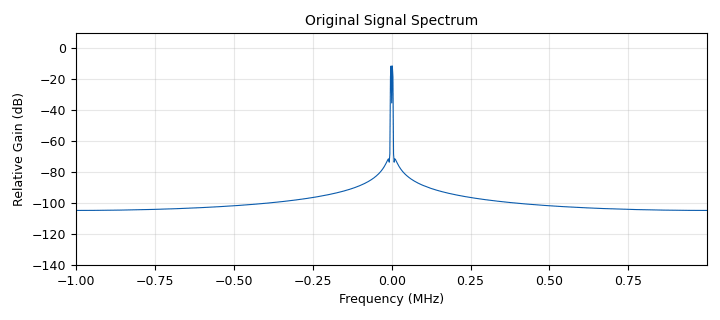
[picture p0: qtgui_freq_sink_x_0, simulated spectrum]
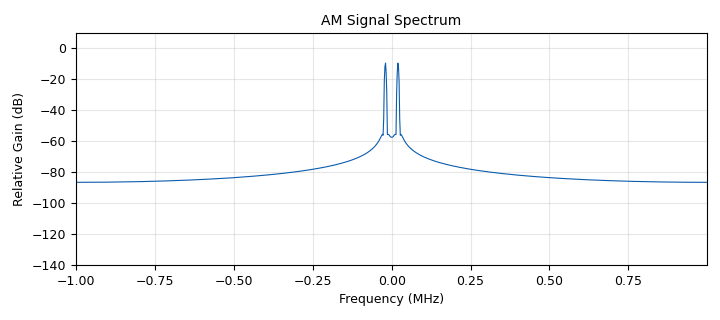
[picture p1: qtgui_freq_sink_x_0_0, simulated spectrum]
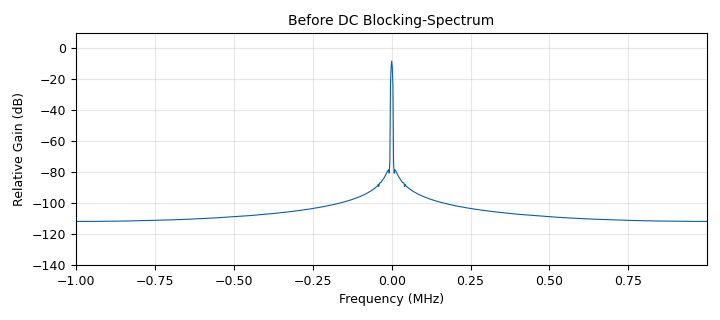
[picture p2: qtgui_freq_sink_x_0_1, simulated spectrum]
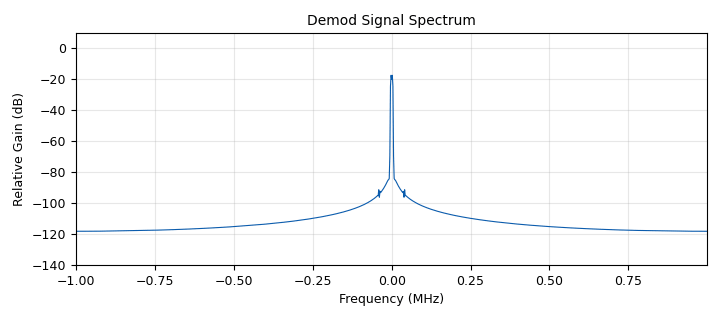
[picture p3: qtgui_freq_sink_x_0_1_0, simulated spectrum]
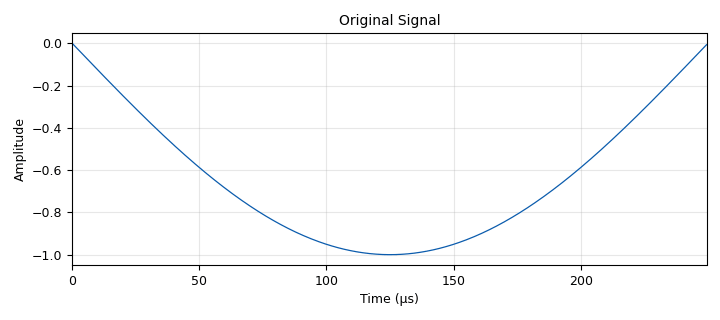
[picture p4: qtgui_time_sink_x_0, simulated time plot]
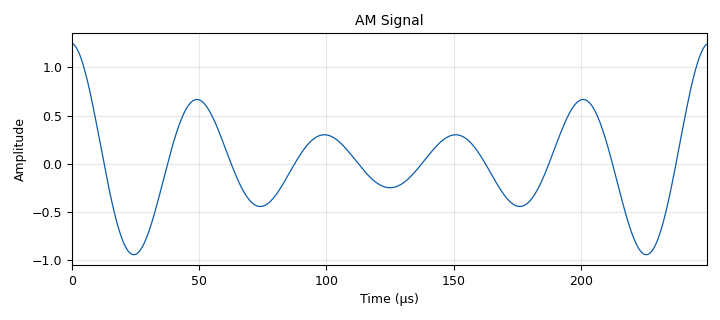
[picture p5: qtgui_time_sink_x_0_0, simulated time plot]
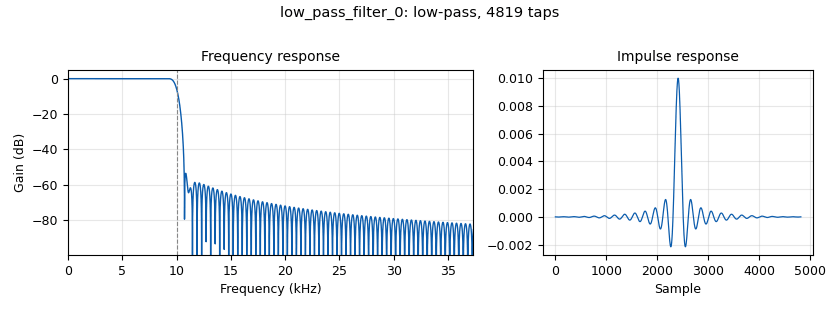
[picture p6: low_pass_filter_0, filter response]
options:
  parameters:
    generate_options: qt_gui
    id: AM_sim_block
    output_language: python
    title: AM Modulation-Demodulation
  states: {}

blocks:
- name: AM_coef
  id: variable_qtgui_range
  parameters:
    gui_hint: 0,0,1,1
    label: 'Ma(amplitude Modulation coefficient):'
    orient: Qt.Horizontal
    start: '0.1'
    step: '0.1'
    stop: '2'
    value: '0.8'
  states: {}
- name: freq
  id: variable
  parameters:
    value: 20e3
  states: {}
- name: freq0
  id: variable
  parameters:
    value: 2e3
  states: {}
- name: noise_amp
  id: variable_qtgui_range
  parameters:
    gui_hint: 0,1,1,1
    label: Noise Amplitude
    orient: Qt.Horizontal
    start: '0'
    step: '0.01'
    stop: '1'
    value: '0'
  states: {}
- name: num
  id: variable
  parameters:
    value: '500'
  states: {}
- name: samp_rate
  id: variable
  parameters:
    value: 2e6
  states: {}
- name: analog_noise_source_x_0
  id: analog_noise_source_x
  parameters:
    amp: noise_amp
    comment: Generate_Noise
    noise_type: analog.GR_GAUSSIAN
    seed: '0'
    type: float
  states: {}
- name: analog_sig_source_x_0
  id: analog_sig_source_x
  parameters:
    amp: '1'
    comment: |-
      Signal_Generator1
      Signal_source
    freq: freq0
    offset: '0'
    phase: '0'
    samp_rate: samp_rate
    type: float
    waveform: analog.GR_SIN_WAVE
  states: {}
- name: analog_sig_source_x_1
  id: analog_sig_source_x
  parameters:
    amp: '1'
    comment: |-
      Signal_Generator3
      CarrierWave
    freq: freq
    offset: '0'
    phase: '0'
    samp_rate: samp_rate
    type: complex
    waveform: analog.GR_COS_WAVE
  states: {}
- name: analog_sig_source_x_1_0
  id: analog_sig_source_x
  parameters:
    amp: '1'
    comment: |-
      Signal_Generator4
      CarrierWave
    freq: '-freq'
    offset: '0'
    phase: '0'
    samp_rate: samp_rate
    type: complex
    waveform: analog.GR_COS_WAVE
  states: {}
- name: analog_sig_source_x_2
  id: analog_sig_source_x
  parameters:
    amp: 1.0/AM_coef
    comment: |-
      Signal_Generator2
      DC_offset
    freq: freq0
    offset: '0'
    phase: '0'
    samp_rate: samp_rate
    type: float
    waveform: analog.GR_CONST_WAVE
  states: {}
- name: blocks_add_xx_0
  id: blocks_add_xx
  parameters:
    type: float
  states: {}
- name: blocks_add_xx_1
  id: blocks_add_xx
  parameters:
    type: float
  states: {}
- name: blocks_complex_to_mag_0
  id: blocks_complex_to_mag
  parameters: {}
  states: {}
- name: blocks_complex_to_real_0
  id: blocks_complex_to_real
  parameters: {}
  states: {}
- name: blocks_float_to_complex_0
  id: blocks_float_to_complex
  parameters: {}
  states: {}
- name: blocks_float_to_complex_0_0
  id: blocks_float_to_complex
  parameters: {}
  states: {}
- name: blocks_float_to_complex_1
  id: blocks_float_to_complex
  parameters: {}
  states: {}
- name: blocks_multiply_xx_0
  id: blocks_multiply_xx
  parameters:
    comment: UpConvert
    type: complex
  states: {}
- name: blocks_multiply_xx_1
  id: blocks_multiply_xx
  parameters:
    comment: DownConvert
    type: complex
  states: {}
- name: blocks_throttle_0
  id: blocks_throttle
  parameters:
    samples_per_second: samp_rate
    type: float
  states: {}
- name: dc_blocker_xx_0
  id: dc_blocker_xx
  parameters:
    length: '3200'
    long_form: 'True'
    type: ff
  states: {}
- name: low_pass_filter_0
  id: low_pass_filter
  parameters:
    cutoff_freq: freq0*5
    decim: '1'
    gain: '1'
    samp_rate: samp_rate
    type: fir_filter_ccf
    width: freq0/2
    win: firdes.WIN_HAMMING
  states: {}
- name: qtgui_freq_sink_x_0
  id: qtgui_freq_sink_x
  parameters:
    bw: samp_rate
    fc: '0'
    fftsize: '1024'
    gui_hint: tab@1:0,0,1,1
    legend: 'False'
    name: Original Signal Spectrum
    showports: 'True'
    type: float
    wintype: firdes.WIN_HAMMING
  states: {}
- name: qtgui_freq_sink_x_0_0
  id: qtgui_freq_sink_x
  parameters:
    bw: samp_rate
    fc: '0'
    fftsize: '1024'
    gui_hint: tab@1:0,1,1,1
    legend: 'False'
    name: AM Signal Spectrum
    showports: 'True'
    type: float
    wintype: firdes.WIN_HAMMING
  states: {}
- name: qtgui_freq_sink_x_0_1
  id: qtgui_freq_sink_x
  parameters:
    bw: samp_rate
    fc: '0'
    fftsize: '1024'
    gui_hint: tab@1:1,0,1,1
    legend: 'False'
    name: Before DC Blocking-Spectrum
    showports: 'True'
    type: float
    wintype: firdes.WIN_HAMMING
  states: {}
- name: qtgui_freq_sink_x_0_1_0
  id: qtgui_freq_sink_x
  parameters:
    bw: samp_rate
    fc: '0'
    fftsize: '1024'
    gui_hint: tab@1:1,1,1,1
    legend: 'False'
    name: Demod Signal Spectrum
    showports: 'True'
    type: float
    wintype: firdes.WIN_HAMMING
  states: {}
- name: qtgui_time_sink_x_0
  id: qtgui_time_sink_x
  parameters:
    autoscale: 'True'
    gui_hint: tab@0:0,0,1,1
    label1: ''
    legend: 'False'
    name: Original Signal
    size: num
    srate: samp_rate
    type: float
  states: {}
- name: qtgui_time_sink_x_0_0
  id: qtgui_time_sink_x
  parameters:
    autoscale: 'True'
    gui_hint: tab@0:0,1,1,1
    label1: ''
    legend: 'False'
    name: AM Signal
    size: num
    srate: samp_rate
    type: float
    ymax: '3'
    ymin: '-3'
  states: {}
- name: qtgui_time_sink_x_0_1
  id: qtgui_time_sink_x
  parameters:
    gui_hint: tab@0:1,0,1,1
    label1: ''
    legend: 'False'
    name: Before DC Blocking
    size: num
    srate: samp_rate
    type: float
    ymax: '6'
  states: {}
- name: qtgui_time_sink_x_0_1_0
  id: qtgui_time_sink_x
  parameters:
    gui_hint: tab@0:1,1,1,1
    label1: ''
    legend: 'False'
    name: Demod Signal
    size: num
    srate: samp_rate
    type: float
  states: {}
- name: tab
  id: qtgui_tab_widget
  parameters:
    gui_hint: 1,0,1,2
    label0: Time Axis Waveform
    label1: Spectrum
    num_tabs: '2'
  states: {}
- name: uhd_usrp_sink_0
  id: uhd_usrp_sink
  parameters:
    ant0: TX/RX
    center_freq0: '0'
    dev_args: '""'
    gain0: '0'
    len_tag_name: ''
    norm_gain0: 'False'
    samp_rate: samp_rate
    sync: none
    type: fc32
  states: {}
- name: virtual_sink_0
  id: virtual_sink
  parameters:
    stream_id: after_channel_data
  states: {}
- name: virtual_source_0
  id: virtual_source
  parameters:
    stream_id: after_channel_data
  states: {}

connections:
- [analog_noise_source_x_0, '0', blocks_add_xx_1, '1']
- [analog_sig_source_x_0, '0', blocks_throttle_0, '0']
- [analog_sig_source_x_0, '0', qtgui_freq_sink_x_0, '0']
- [analog_sig_source_x_0, '0', qtgui_time_sink_x_0, '0']
- [analog_sig_source_x_1, '0', blocks_multiply_xx_0, '0']
- [analog_sig_source_x_1_0, '0', blocks_multiply_xx_1, '1']
- [analog_sig_source_x_2, '0', blocks_add_xx_0, '1']
- [blocks_add_xx_0, '0', blocks_float_to_complex_0, '0']
- [blocks_add_xx_1, '0', blocks_float_to_complex_0_0, '0']
- [blocks_add_xx_1, '0', virtual_sink_0, '0']
- [blocks_complex_to_mag_0, '0', dc_blocker_xx_0, '0']
- [blocks_complex_to_mag_0, '0', qtgui_freq_sink_x_0_1, '0']
- [blocks_complex_to_mag_0, '0', qtgui_time_sink_x_0_1, '0']
- [blocks_complex_to_real_0, '0', blocks_add_xx_1, '0']
- [blocks_complex_to_real_0, '0', qtgui_freq_sink_x_0_0, '0']
- [blocks_complex_to_real_0, '0', qtgui_time_sink_x_0_0, '0']
- [blocks_float_to_complex_0, '0', blocks_multiply_xx_0, '1']
- [blocks_float_to_complex_0_0, '0', uhd_usrp_sink_0, '0']
- [blocks_float_to_complex_1, '0', blocks_multiply_xx_1, '0']
- [blocks_multiply_xx_0, '0', blocks_complex_to_real_0, '0']
- [blocks_multiply_xx_1, '0', low_pass_filter_0, '0']
- [blocks_throttle_0, '0', blocks_add_xx_0, '0']
- [dc_blocker_xx_0, '0', qtgui_freq_sink_x_0_1_0, '0']
- [dc_blocker_xx_0, '0', qtgui_time_sink_x_0_1_0, '0']
- [low_pass_filter_0, '0', blocks_complex_to_mag_0, '0']
- [virtual_source_0, '0', blocks_float_to_complex_1, '0']

metadata:
  file_format: 1
